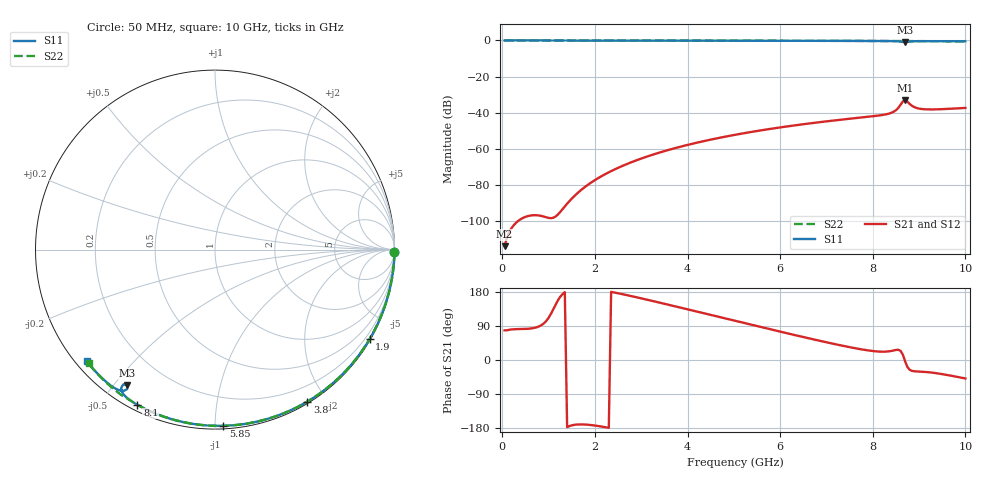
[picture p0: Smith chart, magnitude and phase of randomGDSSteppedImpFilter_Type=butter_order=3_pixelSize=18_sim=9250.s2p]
! freq	dB(S11)	phase(S11)	dB(S12)	phase(S12)
!  dB(S21)	phase(S21)	dB(S22)	phase(S22)
!S-par simulation data
#  GHz  S  DB  R 50
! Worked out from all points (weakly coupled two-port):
!   200 points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, 50 MHz to 10 GHz, reference 50 ohm
!   highest |S21| = -33.04 dB at 8.7 GHz (marker M1); lowest = -114.0 dB at 50 MHz (marker M2)
!   lowest |S11| = -0.9 dB at 8.7 GHz (marker M3), VSWR 18.90, Z = 3.43 - j27.1 ohm
!   |S11| at or under -10 dB: nowhere
!   |S22| runs from -0.5 to 0.0 dB; largest |S21 - S12| = 0
!   S11 on the Smith chart (normalised r, x): 50 MHz: open; 1.9 GHz: 0.03, -3.72; 3.8 GHz: 0.02, -1.78; 5.85 GHz: 0.02, -1.05; 8.1 GHz: 0.02, -0.62; 10 GHz: 0.03, -0.38
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0.05  -0.00 -0.8  -113.96 78.3  -113.96 78.3  -0.00 -0.8
0.9  -0.02 -14.4  -97.60 97.0  -97.60 97.0  -0.02 -14.3
1.75  -0.04 -27.8  -81.85 -170.1  -81.85 -170.1  -0.04 -27.5
1.85  -0.04 -29.3  -79.94 -170.8  -79.94 -170.8  -0.04 -29.1
1.9  -0.04 -30.1  -79.05 -171.4  -79.05 -171.4  -0.04 -29.8
2.2  -0.04 -34.7  -74.38 -176.8  -74.38 -176.8  -0.04 -34.4
2.55  -0.05 -40.1  -69.99 174.9  -69.99 174.9  -0.05 -39.7
2.95  -0.06 -46.1  -65.89 164.1  -65.89 164.1  -0.06 -45.7
3.4  -0.07 -52.8  -62.06 151.3  -62.06 151.3  -0.07 -52.4
3.8  -0.08 -58.7  -59.17 139.6  -59.17 139.6  -0.08 -58.2
5.05  -0.12 -76.4  -52.15 102.6  -52.15 102.6  -0.12 -75.7
5.85  -0.15 -87.3  -48.75 79.2  -48.75 79.2  -0.15 -86.5
6.7  -0.19 -98.5  -45.75 54.9  -45.75 54.9  -0.19 -97.5
8.1  -0.29 -116.5  -41.68 22.5  -41.68 22.5  -0.28 -115.0
8.35  -0.34 -120.0  -40.52 22.9  -40.52 22.9  -0.31 -118.1
8.5  -0.42 -122.5  -38.64 26.5  -38.64 26.5  -0.32 -119.9
8.65  -0.84 -124.2  -33.76 13.9  -33.76 13.9  -0.33 -121.6
8.7  -0.92 -122.9  -33.04 -4.0  -33.04 -4.0  -0.32 -122.2
8.9  -0.46 -124.4  -36.97 -29.8  -36.97 -29.8  -0.34 -124.7
9.05  -0.41 -126.7  -37.96 -30.7  -37.96 -30.7  -0.36 -126.6
9.35  -0.41 -130.7  -38.18 -34.4  -38.18 -34.4  -0.39 -130.2
10  -0.47 -138.8  -37.37 -48.8  -37.37 -48.8  -0.46 -138.0
